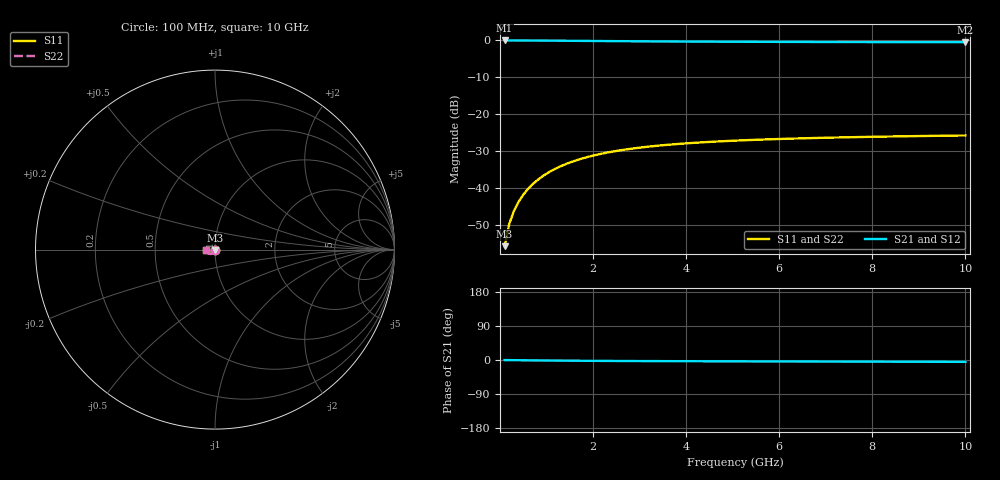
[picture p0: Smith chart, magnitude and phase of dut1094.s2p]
! Touchstone file exported from HFSS 2024.1.0
!  File:  C:/UserFiles/LocalFiles/RDL_TSV_Batchsim/temp_TSV1_1094_1780066663.aedt
!  Generated:  11:02:48 PM May 29, 2026
!  Design:  TSV1
!  Project:  temp_TSV1_1094_1780066663
!  Setup:  Setup1
!  Solution:  Sweep
! Variables:
!  dtsv = 14.57um
!  hbump = 3um
!  htsv = 74.23um
!  lrdl = 252.1521522um
!  p = 40
!  p1 = 58.98um
!  t = 500um
!  trdl = 3um
!  wrdl = 24.89489489um
# GHz S MA R 50.000000
! Terminal data exported
! Port[1] = TSV22_T1
! Port[2] = TSV22_T2
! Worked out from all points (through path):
!   100 points, 100 MHz to 10 GHz, reference 50 ohm
!   highest |S21| = 0.00 dB at 100 MHz (marker M1); lowest = -0.5 dB at 10 GHz (marker M2)
!   lowest |S11| = -55.6 dB at 100 MHz (marker M3), VSWR 1.00, Z = 50 - j0.166 ohm
!   |S11| at or under -10 dB: start of sweep to end of sweep
!   |S22| runs from -55.6 to -25.7 dB; largest |S21 - S12| = 2.3e-15
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0.1  0.001656 -89.4  0.9999 -0.1  0.9999 -0.1  0.001656 -89.4
! Gamma 0 0 0 0
! Port Impedance 50 0 50 0
0.2  0.003311 -92.5  0.9997 -0.3  0.9997 -0.3  0.003311 -92.5
0.3  0.004961 -94.9  0.9994 -0.4  0.9994 -0.4  0.004961 -94.9
0.4  0.006599 -97.1  0.9989 -0.6  0.9989 -0.6  0.006599 -97.1
0.5  0.008216 -99.3  0.9984 -0.7  0.9984 -0.7  0.008216 -99.3
0.6  0.009807 -101.3  0.9978 -0.8  0.9978 -0.8  0.009807 -101.3
0.7  0.01137 -103.3  0.9971 -1.0  0.9971 -1.0  0.01137 -103.3
0.8  0.01289 -105.3  0.9963 -1.1  0.9963 -1.1  0.01289 -105.3
0.9  0.01438 -107.2  0.9955 -1.2  0.9955 -1.2  0.01438 -107.2
1.1  0.01722 -110.9  0.9936 -1.4  0.9936 -1.4  0.01722 -110.9
1.4  0.02115 -116.2  0.9905 -1.7  0.9905 -1.7  0.02115 -116.2
1.6  0.02353 -119.4  0.9883 -1.9  0.9883 -1.9  0.02353 -119.4
1.8  0.02573 -122.5  0.9861 -2.1  0.9861 -2.1  0.02573 -122.5
2.1  0.02869 -126.8  0.9828 -2.3  0.9828 -2.3  0.02869 -126.8
2.5  0.03208 -131.9  0.9786 -2.6  0.9786 -2.6  0.03208 -131.9
2.9  0.03492 -136.5  0.9747 -2.8  0.9747 -2.8  0.03492 -136.5
3.4  0.03784 -141.4  0.9705 -3.0  0.9705 -3.0  0.03784 -141.4
4.2  0.04142 -148.1  0.9649 -3.3  0.9649 -3.3  0.04142 -148.1
5.1  0.04437 -154.2  0.96 -3.5  0.96 -3.5  0.04437 -154.2
6.7  0.0479 -162.7  0.954 -4.0  0.954 -4.0  0.0479 -162.7
8.4  0.05033 -169.8  0.9498 -4.5  0.9498 -4.5  0.05033 -169.8
10  0.05197 -175.2  0.9472 -4.9  0.9472 -4.9  0.05197 -175.2
